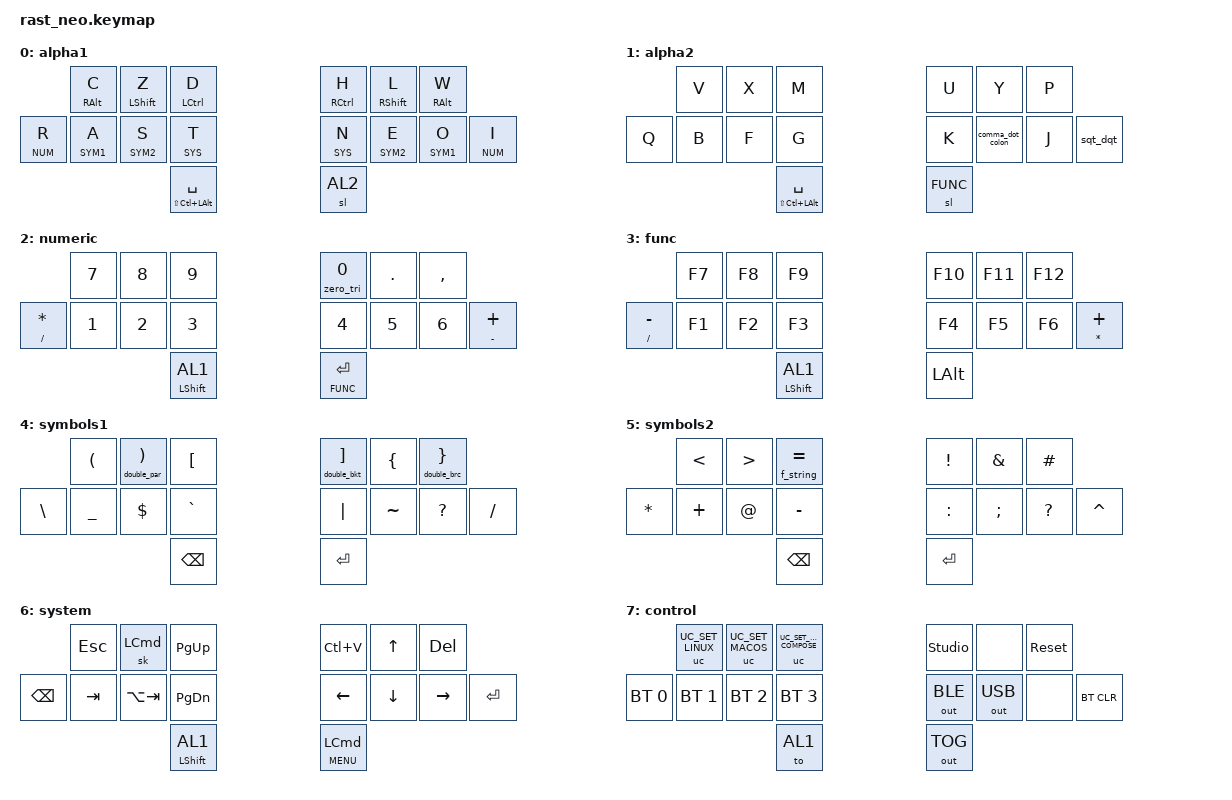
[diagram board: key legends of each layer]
#include <behaviors.dtsi>
#include <behaviors/unicode.dtsi>
#include <dt-bindings/zmk/bt.h>
#include <dt-bindings/zmk/keys.h>
#include <dt-bindings/zmk/outputs.h>

#include <zmk-unicode/keys-extra.h>  // All glyphs except CJK
#include <zmk-unicode/keys-full.h>   // All glyphs including CJK

#define AL1   0
#define AL2   1
#define NUM   2
#define FUNC  3
#define SYM1  4
#define SYM2  5
#define SYS   6
#define CTRL  7

#define UC_LIN &uc UC_SET_LINUX
#define UC_WIN &uc UC_SET_WIN_COMPOSE
#define UC_MAC &uc UC_SET_MACOS

&mt {
    tapping-term-ms = <201>;
    flavor = "tap-preferred";
 };
&sk {
     release-after-ms = <2000>;
     quick-release;
 };

&uc {
  default-mode = <UC_MODE_LINUX>;  // Default to Linux input system
  minimum-length = <0>;            // Set to desired minimum input length
  linux-key = <LC(LS(U))>;         // Overwrite Linux compose key
  win-compose-key = <RALT>;        // Overwrite WinCompose compose key
};

/ {
    combos {
        compatible = "zmk,combos";

        combo_esc {
            timeout-ms = <30>;
            bindings = <&kp ESC>;
            key-positions = <0 1>;
            layers = <AL1 AL2 FUNC>;
        };

        combo_tab {
            timeout-ms = <30>;
            bindings = <&kp TAB>;
            key-positions = <0 1 2>;
            layers = <AL1 AL2 NUM>;
        };

        combo_bspc {
            timeout-ms = <30>;
            bindings = <&kp BSPC>;
            key-positions = <3 4 5>;\
	    layers = <AL1 AL2 NUM>;
        };

        combo_del {
            timeout-ms = <30>;
            bindings = <&kp DEL>;
            key-positions = <4 5>;
            layers = <AL1 AL2 NUM>;
        };

        combo_ent {
            timeout-ms = <20>;
            bindings = <&kp ENTER>;
            key-positions = <10 11 12>;
            layers = <AL1 AL2 NUM>;
        };

        combo_lalt {
            timeout-ms = <20>;
            bindings = <&sk LALT>;
            key-positions = <7 8 9>;
	    layers = <AL1 AL2 NUM>;
        };

        combo_ctrl {
            timeout-ms = <10>;
            bindings = <&to CTRL>;
            key-positions = <2 9>;
	    layers = <AL1>;
        };

        combo_sys {
            timeout-ms = <30>;
            bindings = <&to SYS>;
            key-positions = <3 10>;
	    layers = <AL1>;
        };

        combo_sys_2 {
            timeout-ms = <30>;
            bindings = <&sl SYS>;
            key-positions = <9 10>;
            layers = <AL1>;
        };

        combo_num {
            timeout-ms = <30>;
            bindings = <&to NUM>;
            key-positions = <6 13>;
            layers = <AL1>;
        };

        combo_cmd {
            timeout-ms = <30>;
            bindings = <&kp LCMD>;
            key-positions = <14 15>;
            layers = <AL1>;
        };

        combo_caps {
            timeout-ms = <30>;
            bindings = <&kp CAPS>;
            key-positions = <1 4>;
            layers = <AL1>;
        };

        combo_eq {
            timeout-ms = <30>;
            bindings = <&kp EQUAL>;
            key-positions = <10 11>;
            layers = <NUM>;
        };

        combo_par {
            timeout-ms = <30>;
            bindings = <&macro_par_>;
            key-positions = <0 1>;
            layers = <SYM1>;
        };

        combo_bkt {
            timeout-ms = <30>;
            bindings = <&macro_bkt_>;
            key-positions = <2 3>;
            layers = <SYM1>;
        };

        combo_brc {
            timeout-ms = <30>;
            bindings = <&macro_brc_>;
            key-positions = <4 5>;
            layers = <SYM1>;
        };

        combo_lt_gt {
            timeout-ms = <30>;
            bindings = <&macro_lt_gt>;
            key-positions = <0 1>;
            layers = <SYM2>;
        };

        combo_arrow_func {
            timeout-ms = <30>;
            bindings = <&macro_arrow_func>;
            key-positions = <1 2>;
            layers = <SYM2>;
        };

        combo_not_eq {
            timeout-ms = <30>;
            bindings = <&macro_not_eq>;
            key-positions = <2 3>;
            layers = <SYM2>;
        };

        combo_shebang {
            timeout-ms = <30>;
            bindings = <&macro_shebang>;
            key-positions = <3 5>;
            layers = <SYM2>;
        };

        combo_ret_func {
            timeout-ms = <30>;
            bindings = <&macro_ret_func>;
            key-positions = <9 10>;
            layers = <SYM2>;
        };
    };

    macros {
        macro_MEH: macro_MEH {
            compatible = "zmk,behavior-macro";
            #binding-cells = <0>;
            bindings = <&kp LC(LS(LALT))>;
            label = "MACRO_MEH";
        };

        macro_f_string: macro_f_string {
            compatible = "zmk,behavior-macro";
            #binding-cells = <0>;
            bindings = <&kp F &kp DQT &kp DQT &kp LEFT>;
            label = "MACRO_F_STRING";
        };

        macro_bkt: macro_bkt {
            compatible = "zmk,behavior-macro";
            #binding-cells = <0>;
            bindings = <&kp LBKT &kp RBKT &kp LEFT>;
            label = "MACRO_BKT";
        };

        macro_brc: macro_brc {
            compatible = "zmk,behavior-macro";
            #binding-cells = <0>;
            bindings = <&kp LBRC &kp RBRC &kp LEFT>;
            label = "MACRO_BRC";
        };

        macro_par: macro_brr {
            compatible = "zmk,behavior-macro";
            #binding-cells = <0>;
            bindings = <&kp LPAR &kp RPAR &kp LEFT>;
            label = "MACRO_BRR";
        };

        macro_shebang: macro_shebang {
            compatible = "zmk,behavior-macro";
            #binding-cells = <0>;
            bindings = <&kp HASH &kp EXCL>;
            label = "MACRO_SHEBANG";
        };

        macro_bkt_: macro_bkt_ins {
            compatible = "zmk,behavior-macro";
            #binding-cells = <0>;
            bindings = <&kp LBKT &kp RBKT>;
            label = "MACRO_BKT_INS";
        };

        macro_brc_: macro_brc_ {
            compatible = "zmk,behavior-macro";
            #binding-cells = <0>;
            bindings = <&kp LBRC &kp RBRC>;
            label = "MACRO_BRC_";
        };

        macro_par_: macro_par_ {
            compatible = "zmk,behavior-macro";
            #binding-cells = <0>;
            bindings = <&kp LPAR &kp RPAR>;
            label = "MACRO_PAR_";
        };

        macro_ret_func: macro_ret {
            compatible = "zmk,behavior-macro";
            #binding-cells = <0>;
            bindings = <&kp MINUS &kp GT>;
            label = "MACRO_RET";
        };

        macro_arrow_func: macro_arrow_func {
            compatible = "zmk,behavior-macro";
            #binding-cells = <0>;
            bindings = <&kp EQUAL &kp GT>;
            label = "MACRO_ARROW_FUNC";
        };

        macro_not_eq: macro_not_eq {
            compatible = "zmk,behavior-macro";
            #binding-cells = <0>;
            bindings = <&kp EXCL &kp EQUAL>;
            label = "MACRO_NOT_EQ";
        };

        macro_lt_gt: macro_lt_gt {
            compatible = "zmk,behavior-macro";
            #binding-cells = <0>;
            bindings = <&kp LT &kp GT>;
            label = "MACRO_LT_GT";
        };

        macro_triple_null: macro_triple_null {
            compatible = "zmk,behavior-macro";
            #binding-cells = <0>;
            bindings = <&kp N0 &kp N0 &kp N0>;
            label = "MACRO_TRIPLE_NULL";
        };
    };

    behaviors {
	hm: homerow_mods {
            compatible = "zmk,behavior-hold-tap";
            label = "HOMEROW_MODS";
            #binding-cells = <2>;
            tapping-term-ms = <300>;
            quick-tap-ms = <250>;
            flavor = "tap-preferred";
            bindings = <&kp>, <&kp>;
        };
        sr: shift_layer {
            compatible = "zmk,behavior-hold-tap";
            label = "SHIFT_LAYER";
            #binding-cells = <2>;
            tapping-term-ms = <300>;
            quick_tap_ms = <0>;
            flavor = "tap-preferred";
            bindings = <&kp>, <&to>;
	    retro-tap;
        };
        hl: homerow_layers {
            compatible = "zmk,behavior-hold-tap";
            label = "HOMEROW_LAYERS";
            #binding-cells = <2>;
            tapping-term-ms = <220>;
            quick-tap-ms = <250>;
            flavor = "tap-preferred";
            bindings = <&mo>, <&kp>;
        };
        as: auto_shift {
            compatible = "zmk,behavior-hold-tap";
            label = "AUTO SHIFT";
            bindings = <&kp>, <&kp>;
            #binding-cells = <2>;
            tapping-term-ms = <135>;
            quick-tap-ms = <0>;
            flavor = "tap-preferred";
        };

        MEH: MEH {
            compatible = "zmk,behavior-hold-tap";
            label = "MEH";
            bindings = <&kp>, <&kp>;
            #binding-cells = <2>;
            tapping-term-ms = <210>;
            flavor = "tap-preferred";
        };

        comma_dot_colon: comma_dot_colon {
            compatible = "zmk,behavior-tap-dance";
            label = "COMMA_DOT_COLON";
            #binding-cells = <0>;
            tapping-term-ms = <150>;
            bindings = <&kp COMMA>, <&kp DOT>, <&kp COLON>;
        };

        sqt_dqt: sqt_dqt {
            compatible = "zmk,behavior-tap-dance";
            label = "SQT_DQT";
            #binding-cells = <0>;
            bindings = <&kp SQT>, <&kp DQT>;
            tapping-term-ms = <150>;
        };

        copy_paste: copy_paste {
            compatible = "zmk,behavior-tap-dance";
            label = "COPY_PASTE";
            #binding-cells = <0>;
            bindings = <&kp LC(V)>, <&kp LC(C)>, <&kp LC(X)>;
            tapping-term-ms = <180>;
        };

        zero_tri: zero_tri {
            compatible = "zmk,behavior-hold-tap";
            label = "ZERO_TRI";
            bindings = <&macro_triple_null>, <&kp>;
            #binding-cells = <1>;
            tapping-term-ms = <190>;
            flavor = "tap-preferred";
        };

        double_par: double_par {
            compatible = "zmk,behavior-hold-tap";
            label = "DOUBLE_PAR";
            bindings = <&macro_par>, <&kp>;
            #binding-cells = <1>;
            flavor = "tap-preferred";
            tapping-term-ms = <190>;
        };

        double_bkt: double_bkt {
            compatible = "zmk,behavior-hold-tap";
            label = "DOUBLE_BKT";
            bindings = <&macro_bkt>, <&kp>;
            #binding-cells = <1>;
            flavor = "tap-preferred";
            tapping-term-ms = <190>;
        };

        double_brc: double_brc {
            compatible = "zmk,behavior-hold-tap";
            label = "DOUBLE_BRC";
            bindings = <&macro_brc>, <&kp>;
            #binding-cells = <1>;
            flavor = "tap-preferred";
            tapping-term-ms = <190>;
        };

        f_string: f_string {
            compatible = "zmk,behavior-hold-tap";
            label = "F_STRING";
            bindings = <&macro_f_string>, <&kp>;
            #binding-cells = <1>;
            flavor = "tap-preferred";
            tapping-term-ms = <190>;
        };
    };

// 				0		1		2					3		4			5
// 		6		7		8		9 					10		11			12 		13
//								14	                15 		

    keymap {
        compatible = "zmk,keymap";

        alpha1 {
            bindings = <
           &hm RALT C  &hm LSHFT Z  &hm LCTRL D                &hm RCTRL H  &hm RSHFT L  &hm RALT W
  &hl NUM R  &hl SYM1 A     &hl SYM2 S      &hl SYS T                    &hl SYS N      &hl SYM2 E      &hl SYM1 O     &hl NUM I
                                    &MEH LS(LC(LALT)) SPACE    &sl AL2
            >;
        };

        alpha2 {
            bindings = <
         &kp V  &kp X  &kp M                      &kp U  &kp Y             &kp P
  &kp Q  &kp B  &kp F  &kp G                      &kp K  &comma_dot_colon  &kp J  &sqt_dqt
                       &MEH LS(LC(LALT)) SPACE    &sl FUNC
            >;
        };

        numeric {
            bindings = <
                 &kp N7  &kp N8  &kp N9    &zero_tri N0  &kp DOT  &kp COMMA
  &as FSLH STAR  &kp N1  &kp N2  &kp N3    &kp N4     &kp N5   &kp N6     &as MINUS PLUS
                          &sr LSHFT AL1   &hl FUNC RET
            >;
        };

        func {
            bindings = <
                  &kp F7  &kp F8  &kp F9     &kp F10   &kp F11  &kp F12
  &as FSLH MINUS  &kp F1  &kp F2  &kp F3     &kp F4    &kp F5   &kp F6   &as STAR PLUS
                          &sr LSHFT AL1     &kp LALT
            >;
        };

        symbols1 {
            bindings = <
            &kp LPAR   &double_par RPAR    &kp LBKT     &double_bkt RBKT    &kp LBRC   &double_brc RBRC
  &kp BSLH  &kp UNDER  &kp DOLLAR          &kp GRAVE    &kp PIPE            &kp TILDE  &kp QMARK           &kp SLASH
                                           &kp BSPC     &kp RET
            >;
        };

        symbols2 {
            bindings = <
            &kp LT    &kp GT  &f_string EQUAL    &kp EXCL   &kp AMPS  &kp HASH
  &kp STAR  &kp PLUS  &kp AT  &kp MINUS    &kp COLON  &kp SEMI  &kp QMARK  &kp CARET
                              &kp BSPC     &kp RET
            >;
        };

        system {
            bindings = <
            &kp ESC  &sk LCMD     &kp PG_UP    &kp LC(V)        &kp UP    &kp DEL
  &kp BSPC  &kp TAB  &kp LA(TAB)  &kp PG_DN    &kp LEFT         &kp DOWN  &kp RIGHT  &kp RET
                            &sr LSHFT AL1       &mt K_MENU LCMD
            >;
        };

        control {
            bindings = <
                UC_LIN        UC_MAC        UC_WIN          &studio_unlock  &none         &sys_reset
  &bt BT_SEL 0  &bt BT_SEL 1  &bt BT_SEL 2  &bt BT_SEL 3    &out OUT_BLE    &out OUT_USB  &none       &bt BT_CLR
                                            &to AL1         &out OUT_TOG
            >;
        };
    };
};
